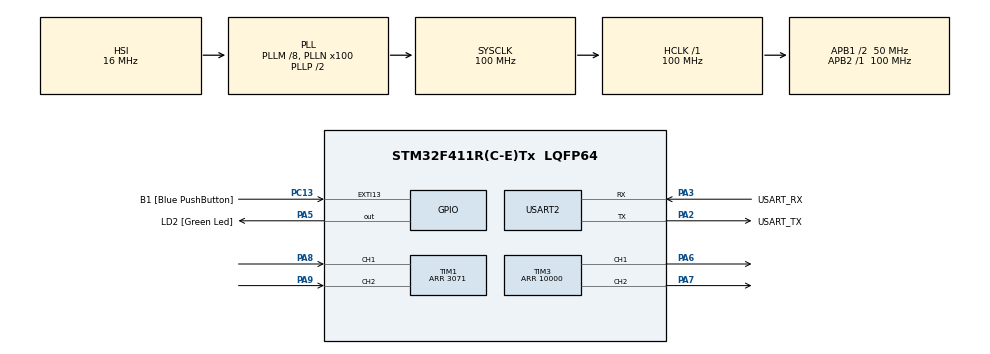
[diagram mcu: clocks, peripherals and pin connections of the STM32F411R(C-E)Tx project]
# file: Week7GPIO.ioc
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Mcu.Family=STM32F4
PC15-OSC32_OUT.Mode=LSE-External-Oscillator
RCC.CortexFreq_Value=100000000
PC13-ANTI_TAMP.GPIO_Label=B1 [Blue PushButton]
PA14.GPIO_Label=TCK
PH1\ -\ OSC_OUT.Mode=HSE-External-Clock-Source
TIM1.EncoderMode=TIM_ENCODERMODE_TI12
RCC.APB1CLKDivider=RCC_HCLK_DIV2
PC14-OSC32_IN.Signal=RCC_OSC32_IN
RCC.SYSCLKSource=RCC_SYSCLKSOURCE_PLLCLK
ProjectManager.StackSize=0x400
PA3.Mode=Asynchronous
PA13.Signal=SYS_JTMS-SWDIO
PH0\ -\ OSC_IN.Mode=HSE-External-Clock-Source
TIM3.Pulse-PWM\ Generation1\ CH1=0
SH.S_TIM1_CH1.0=TIM1_CH1,Encoder_Interface
PH0\ -\ OSC_IN.Signal=RCC_OSC_IN
ProjectManager.TargetToolchain=STM32CubeIDE
RCC.HCLKFreq_Value=100000000
RCC.APB2TimFreq_Value=100000000
TIM3.Period=10000
PA9.Signal=S_TIM1_CH2
PC15-OSC32_OUT.Signal=RCC_OSC32_OUT
RCC.AHBFreq_Value=100000000
TIM3.Channel-PWM\ Generation1\ CH1=TIM_CHANNEL_1
PA5.Signal=GPIO_Output
SH.S_TIM3_CH2.0=TIM3_CH2,PWM Generation2 CH2
RCC.HSE_VALUE=8000000
PH1\ -\ OSC_OUT.Signal=RCC_OSC_OUT
board=NUCLEO-F411RE
PC13-ANTI_TAMP.Signal=GPXTI13
RCC.VCOOutputFreq_Value=200000000
RCC.APB2Freq_Value=100000000
PC14-OSC32_IN.Mode=LSE-External-Oscillator
SH.S_TIM1_CH2.0=TIM1_CH2,Encoder_Interface
VP_TIM2_VS_ClockSourceINT.Mode=Internal
PA14.Mode=Serial_Wire
NVIC.TIM2_IRQn=true\:0\:0\:false\:false\:true\:true\:true
PA8.Signal=S_TIM1_CH1
SH.S_TIM3_CH1.0=TIM3_CH1,PWM Generation1 CH1
PA13.Mode=Serial_Wire
Mcu.Name=STM32F411R(C-E)Tx
PA2.Signal=USART2_TX
PA13.GPIO_Label=TMS
RCC.FLatency-AdvancedSettings=FLASH_LATENCY_3
RCC.48MHZClocksFreq_Value=50000000
PB3.Signal=SYS_JTDO-SWO
RCC.SYSCLKFreq_VALUE=100000000
Mcu.Package=LQFP64
TIM2.Prescaler=99
PA6.Signal=S_TIM3_CH1
PA5.GPIO_Label=LD2 [Green Led]
USART2.VirtualMode=VM_ASYNC
PC13-ANTI_TAMP.GPIO_ModeDefaultEXTI=GPIO_MODE_IT_FALLING
PA2.GPIO_Label=USART_TX
PA14.Signal=SYS_JTCK-SWCLK
ProjectManager.HeapSize=0x200
RCC.HSI_VALUE=16000000
NVIC.PriorityGroup=NVIC_PRIORITYGROUP_0
TIM3.Channel-PWM\ Generation2\ CH2=TIM_CHANNEL_2
RCC.PLLM=8
RCC.PLLN=100
RCC.APB1TimFreq_Value=100000000
PA2.Mode=Asynchronous
TIM3.Pulse-PWM\ Generation2\ CH2=0
TIM1.Period=3071
RCC.APB1Freq_Value=50000000
VP_TIM3_VS_ClockSourceINT.Mode=Internal
PA3.GPIO_Label=USART_RX
PA3.Signal=USART2_RX
PA7.Signal=S_TIM3_CH2
PB3.GPIO_Label=SWO

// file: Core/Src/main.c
/* USER CODE BEGIN Header */
/**
  ******************************************************************************
  * @file           : main.c
  * @brief          : Main program body
  ******************************************************************************
  * @attention
  *
  * <h2><center>&copy; Copyright (c) 2021 STMicroelectronics.
  * All rights reserved.</center></h2>
  *
  * This software component is licensed by ST under BSD 3-Clause license,
  * the "License"; You may not use this file except in compliance with the
  * License. You may obtain a copy of the License at:
  *                        opensource.org/licenses/BSD-3-Clause
  *
  ******************************************************************************
  */
/* USER CODE END Header */
#include "main.h"

TIM_HandleTypeDef htim1;
TIM_HandleTypeDef htim2;
TIM_HandleTypeDef htim3;

UART_HandleTypeDef huart2;

/* USER CODE BEGIN PV */
uint64_t _micro = 0;
uint64_t Timestamp_Encoder = 0;
uint64_t TimeOutputLoop = 0;

float EncoderVel = 0;
float MotorVel = 0;
float InputMotorVel = 15;
float InputEncoderVel = 0;

float error = 0;
float pre_error = 0;
float Kp = 25;
float Ki = 80;
float Kd = 0.5;
float Integral = 0;

float PIDPWM = 0;
float PWMOut = 0;

/* USER CODE END PV */

void SystemClock_Config(void);
static void MX_GPIO_Init(void);
static void MX_USART2_UART_Init(void);
static void MX_TIM1_Init(void);
static void MX_TIM2_Init(void);
static void MX_TIM3_Init(void);
/* USER CODE BEGIN PFP */
uint64_t micros();
float EncoderVelocity_Update();
/* USER CODE END PFP */

int main(void)
{
  /* USER CODE BEGIN 1 */

  #define dt 0.001

  /* USER CODE END 1 */

  /* MCU Configuration--------------------------------------------------------*/

  /* Reset of all peripherals, Initializes the Flash interface and the Systick. */
  HAL_Init();

  /* Configure the system clock */
  SystemClock_Config();

  /* Initialize all configured peripherals */
  MX_GPIO_Init();
  MX_USART2_UART_Init();
  MX_TIM1_Init();
  MX_TIM2_Init();
  MX_TIM3_Init();
  /* USER CODE BEGIN 2 */

  HAL_TIM_Encoder_Start(&htim1, TIM_CHANNEL_ALL);

  HAL_TIM_Base_Start(&htim3);
  HAL_TIM_PWM_Start(&htim3, TIM_CHANNEL_1);
  HAL_TIM_PWM_Start(&htim3, TIM_CHANNEL_2);

  HAL_TIM_Base_Start_IT(&htim2);
  /* USER CODE END 2 */

  /* Infinite loop */
  /* USER CODE BEGIN WHILE */
  while (1)
  {
	  if(micros() - Timestamp_Encoder >= 10)
	  {
	  	  Timestamp_Encoder = micros();
	  	  EncoderVel = ((EncoderVel*9999) + EncoderVelocity_Update())/10000;
	  }

	  MotorVel = (EncoderVel/48.0)*(60.0/64.0);
	  InputEncoderVel = (InputMotorVel * 48.0) * (64.0/60.0);

	  if (micros() - TimeOutputLoop >= 1000)
	  {
		  TimeOutputLoop = micros();
		  error = InputEncoderVel - EncoderVel;
		  if(error != 0)
		  {
			  Integral += error * dt;
			  PIDPWM = (Kp*error) + (Ki*Integral) + (Kd * ((error-pre_error)/dt));
		  }
		  if(PIDPWM>=10000)
		  {
			  PIDPWM = 10000;
		  }
		  else if(PIDPWM <= -10000)
		  {
			  PIDPWM = -10000;
		  }
		  pre_error = error;

		  if(InputMotorVel > 0)
		  {
			  PWMOut = PIDPWM;
			  __HAL_TIM_SET_COMPARE(&htim3, TIM_CHANNEL_1,PWMOut);
			  __HAL_TIM_SET_COMPARE(&htim3, TIM_CHANNEL_2,0);
		  }
		  else if(InputMotorVel < 0)
		  {
			  PWMOut = -PIDPWM;
			  __HAL_TIM_SET_COMPARE(&htim3, TIM_CHANNEL_1,0);
			  __HAL_TIM_SET_COMPARE(&htim3, TIM_CHANNEL_2,PWMOut);
		  }
		  else
		  {
			  __HAL_TIM_SET_COMPARE(&htim3, TIM_CHANNEL_1,0);
			  __HAL_TIM_SET_COMPARE(&htim3, TIM_CHANNEL_2,0);
		  }
	  }

    /* USER CODE END WHILE */

  }
}

void SystemClock_Config(void)
{
  RCC_OscInitTypeDef RCC_OscInitStruct = {0};
  RCC_ClkInitTypeDef RCC_ClkInitStruct = {0};

  /** Configure the main internal regulator output voltage
  */
  __HAL_RCC_PWR_CLK_ENABLE();
  __HAL_PWR_VOLTAGESCALING_CONFIG(PWR_REGULATOR_VOLTAGE_SCALE1);
  /** Initializes the RCC Oscillators according to the specified parameters
  * in the RCC_OscInitTypeDef structure.
  */
  RCC_OscInitStruct.OscillatorType = RCC_OSCILLATORTYPE_HSI;
  RCC_OscInitStruct.HSIState = RCC_HSI_ON;
  RCC_OscInitStruct.HSICalibrationValue = RCC_HSICALIBRATION_DEFAULT;
  RCC_OscInitStruct.PLL.PLLState = RCC_PLL_ON;
  RCC_OscInitStruct.PLL.PLLSource = RCC_PLLSOURCE_HSI;
  RCC_OscInitStruct.PLL.PLLM = 8;
  RCC_OscInitStruct.PLL.PLLN = 100;
  RCC_OscInitStruct.PLL.PLLP = RCC_PLLP_DIV2;
  RCC_OscInitStruct.PLL.PLLQ = 4;
  if (HAL_RCC_OscConfig(&RCC_OscInitStruct) != HAL_OK)
  {
    Error_Handler();
  }
  /** Initializes the CPU, AHB and APB buses clocks
  */
  RCC_ClkInitStruct.ClockType = RCC_CLOCKTYPE_HCLK|RCC_CLOCKTYPE_SYSCLK
                              |RCC_CLOCKTYPE_PCLK1|RCC_CLOCKTYPE_PCLK2;
  RCC_ClkInitStruct.SYSCLKSource = RCC_SYSCLKSOURCE_PLLCLK;
  RCC_ClkInitStruct.AHBCLKDivider = RCC_SYSCLK_DIV1;
  RCC_ClkInitStruct.APB1CLKDivider = RCC_HCLK_DIV2;
  RCC_ClkInitStruct.APB2CLKDivider = RCC_HCLK_DIV1;

  if (HAL_RCC_ClockConfig(&RCC_ClkInitStruct, FLASH_LATENCY_3) != HAL_OK)
  {
    Error_Handler();
  }
}

static void MX_TIM1_Init(void)
{

  TIM_Encoder_InitTypeDef sConfig = {0};
  TIM_MasterConfigTypeDef sMasterConfig = {0};

  htim1.Instance = TIM1;
  htim1.Init.Prescaler = 0;
  htim1.Init.CounterMode = TIM_COUNTERMODE_UP;
  htim1.Init.Period = 3071;
  htim1.Init.ClockDivision = TIM_CLOCKDIVISION_DIV1;
  htim1.Init.RepetitionCounter = 0;
  htim1.Init.AutoReloadPreload = TIM_AUTORELOAD_PRELOAD_DISABLE;
  sConfig.EncoderMode = TIM_ENCODERMODE_TI12;
  sConfig.IC1Polarity = TIM_ICPOLARITY_RISING;
  sConfig.IC1Selection = TIM_ICSELECTION_DIRECTTI;
  sConfig.IC1Prescaler = TIM_ICPSC_DIV1;
  sConfig.IC1Filter = 0;
  sConfig.IC2Polarity = TIM_ICPOLARITY_RISING;
  sConfig.IC2Selection = TIM_ICSELECTION_DIRECTTI;
  sConfig.IC2Prescaler = TIM_ICPSC_DIV1;
  sConfig.IC2Filter = 0;
  if (HAL_TIM_Encoder_Init(&htim1, &sConfig) != HAL_OK)
  {
    Error_Handler();
  }
  sMasterConfig.MasterOutputTrigger = TIM_TRGO_RESET;
  sMasterConfig.MasterSlaveMode = TIM_MASTERSLAVEMODE_DISABLE;
  if (HAL_TIMEx_MasterConfigSynchronization(&htim1, &sMasterConfig) != HAL_OK)
  {
    Error_Handler();
  }

}

static void MX_TIM2_Init(void)
{

  TIM_ClockConfigTypeDef sClockSourceConfig = {0};
  TIM_MasterConfigTypeDef sMasterConfig = {0};

  htim2.Instance = TIM2;
  htim2.Init.Prescaler = 99;
  htim2.Init.CounterMode = TIM_COUNTERMODE_UP;
  htim2.Init.Period = 4294967295;
  htim2.Init.ClockDivision = TIM_CLOCKDIVISION_DIV1;
  htim2.Init.AutoReloadPreload = TIM_AUTORELOAD_PRELOAD_DISABLE;
  if (HAL_TIM_Base_Init(&htim2) != HAL_OK)
  {
    Error_Handler();
  }
  sClockSourceConfig.ClockSource = TIM_CLOCKSOURCE_INTERNAL;
  if (HAL_TIM_ConfigClockSource(&htim2, &sClockSourceConfig) != HAL_OK)
  {
    Error_Handler();
  }
  sMasterConfig.MasterOutputTrigger = TIM_TRGO_RESET;
  sMasterConfig.MasterSlaveMode = TIM_MASTERSLAVEMODE_DISABLE;
  if (HAL_TIMEx_MasterConfigSynchronization(&htim2, &sMasterConfig) != HAL_OK)
  {
    Error_Handler();
  }

}

static void MX_TIM3_Init(void)
{

  TIM_ClockConfigTypeDef sClockSourceConfig = {0};
  TIM_MasterConfigTypeDef sMasterConfig = {0};
  TIM_OC_InitTypeDef sConfigOC = {0};

  htim3.Instance = TIM3;
  htim3.Init.Prescaler = 0;
  htim3.Init.CounterMode = TIM_COUNTERMODE_UP;
  htim3.Init.Period = 10000;
  htim3.Init.ClockDivision = TIM_CLOCKDIVISION_DIV1;
  htim3.Init.AutoReloadPreload = TIM_AUTORELOAD_PRELOAD_DISABLE;
  if (HAL_TIM_Base_Init(&htim3) != HAL_OK)
  {
    Error_Handler();
  }
  sClockSourceConfig.ClockSource = TIM_CLOCKSOURCE_INTERNAL;
  if (HAL_TIM_ConfigClockSource(&htim3, &sClockSourceConfig) != HAL_OK)
  {
    Error_Handler();
  }
  if (HAL_TIM_PWM_Init(&htim3) != HAL_OK)
  {
    Error_Handler();
  }
  sMasterConfig.MasterOutputTrigger = TIM_TRGO_RESET;
  sMasterConfig.MasterSlaveMode = TIM_MASTERSLAVEMODE_DISABLE;
  if (HAL_TIMEx_MasterConfigSynchronization(&htim3, &sMasterConfig) != HAL_OK)
  {
    Error_Handler();
  }
  sConfigOC.OCMode = TIM_OCMODE_PWM1;
  sConfigOC.Pulse = 0;
  sConfigOC.OCPolarity = TIM_OCPOLARITY_HIGH;
  sConfigOC.OCFastMode = TIM_OCFAST_DISABLE;
  if (HAL_TIM_PWM_ConfigChannel(&htim3, &sConfigOC, TIM_CHANNEL_1) != HAL_OK)
  {
    Error_Handler();
  }
  if (HAL_TIM_PWM_ConfigChannel(&htim3, &sConfigOC, TIM_CHANNEL_2) != HAL_OK)
  {
    Error_Handler();
  }
  HAL_TIM_MspPostInit(&htim3);

}

static void MX_USART2_UART_Init(void)
{

  huart2.Instance = USART2;
  huart2.Init.BaudRate = 115200;
  huart2.Init.WordLength = UART_WORDLENGTH_8B;
  huart2.Init.StopBits = UART_STOPBITS_1;
  huart2.Init.Parity = UART_PARITY_NONE;
  huart2.Init.Mode = UART_MODE_TX_RX;
  huart2.Init.HwFlowCtl = UART_HWCONTROL_NONE;
  huart2.Init.OverSampling = UART_OVERSAMPLING_16;
  if (HAL_UART_Init(&huart2) != HAL_OK)
  {
    Error_Handler();
  }

}

static void MX_GPIO_Init(void)
{
  GPIO_InitTypeDef GPIO_InitStruct = {0};

  /* GPIO Ports Clock Enable */
  __HAL_RCC_GPIOC_CLK_ENABLE();
  __HAL_RCC_GPIOH_CLK_ENABLE();
  __HAL_RCC_GPIOA_CLK_ENABLE();
  __HAL_RCC_GPIOB_CLK_ENABLE();

  /*Configure GPIO pin Output Level */
  HAL_GPIO_WritePin(LD2_GPIO_Port, LD2_Pin, GPIO_PIN_RESET);

  /*Configure GPIO pin : B1_Pin */
  GPIO_InitStruct.Pin = B1_Pin;
  GPIO_InitStruct.Mode = GPIO_MODE_IT_FALLING;
  GPIO_InitStruct.Pull = GPIO_NOPULL;
  HAL_GPIO_Init(B1_GPIO_Port, &GPIO_InitStruct);

  /*Configure GPIO pin : LD2_Pin */
  GPIO_InitStruct.Pin = LD2_Pin;
  GPIO_InitStruct.Mode = GPIO_MODE_OUTPUT_PP;
  GPIO_InitStruct.Pull = GPIO_NOPULL;
  GPIO_InitStruct.Speed = GPIO_SPEED_FREQ_LOW;
  HAL_GPIO_Init(LD2_GPIO_Port, &GPIO_InitStruct);

}

/* USER CODE BEGIN 4 */
#define  HTIM_ENCODER htim1
#define  MAX_SUBPOSITION_OVERFLOW 1536
#define  MAX_ENCODER_PERIOD 3072

float EncoderVelocity_Update()
{
	//Save Last state
	static uint32_t EncoderLastPosition = 0;
	static uint64_t EncoderLastTimestamp = 0;

	//read data
	uint32_t EncoderNowPosition = HTIM_ENCODER.Instance->CNT;
	uint64_t EncoderNowTimestamp = micros();

	int32_t EncoderPositionDiff;
	uint64_t EncoderTimeDiff;

	EncoderTimeDiff = EncoderNowTimestamp - EncoderLastTimestamp;
	EncoderPositionDiff = EncoderNowPosition - EncoderLastPosition;

	//compensate overflow and underflow
	if (EncoderPositionDiff >= MAX_SUBPOSITION_OVERFLOW)
	{
		EncoderPositionDiff -= MAX_ENCODER_PERIOD;
	}
	else if (-EncoderPositionDiff >= MAX_SUBPOSITION_OVERFLOW)
	{
		EncoderPositionDiff += MAX_ENCODER_PERIOD;
	}

	//Update Position and time
	EncoderLastPosition = EncoderNowPosition;
	EncoderLastTimestamp = EncoderNowTimestamp;

	//Calculate velocity
	//EncoderTimeDiff is in uS
	return (EncoderPositionDiff * 1000000) / (float) EncoderTimeDiff;

}

void HAL_TIM_PeriodElapsedCallback(TIM_HandleTypeDef *htim)
{
	if (htim == &htim2)
	{
		_micro += 4294967295;
	}
}
uint64_t micros()
{
	return _micro + htim2.Instance->CNT;
}

/* USER CODE END 4 */

void Error_Handler(void)
{
  __disable_irq();
  while (1)
  {
  }
}

/************************ (C) COPYRIGHT STMicroelectronics *****END OF FILE****/
